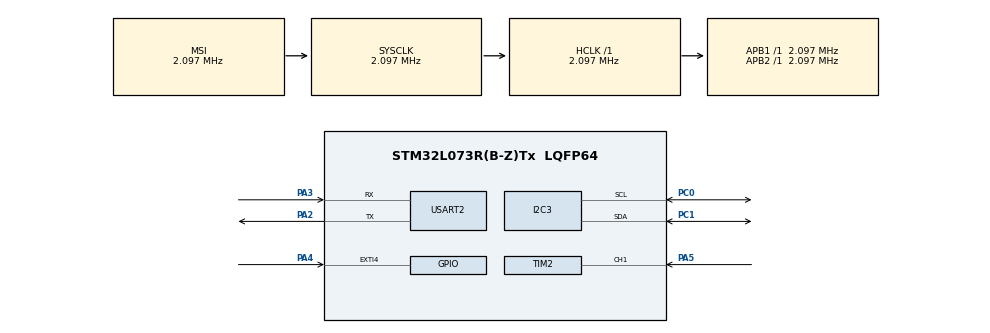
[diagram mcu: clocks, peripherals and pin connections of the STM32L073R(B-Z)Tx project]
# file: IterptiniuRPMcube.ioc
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Mcu.Family=STM32L0
Mcu.Name=STM32L073R(B-Z)Tx
Mcu.Package=LQFP64
NVIC.EXTI4_15_IRQn=true\:0\:0\:false\:false\:true\:true\:true\:true
PA2.Mode=Asynchronous
PA2.Signal=USART2_TX
PA3.Mode=Asynchronous
PA3.Signal=USART2_RX
PA4.Signal=GPXTI4
PA5.Signal=S_TIM2_CH1
PC0.Mode=I2C
PC0.Signal=I2C3_SCL
PC1.Mode=I2C
PC1.Signal=I2C3_SDA
PH0-OSC_IN.Mode=HSE-External-Oscillator
PH0-OSC_IN.Signal=RCC_OSC_IN
PH1-OSC_OUT.Mode=HSE-External-Oscillator
PH1-OSC_OUT.Signal=RCC_OSC_OUT
ProjectManager.HeapSize=0x200
ProjectManager.StackSize=0x400
ProjectManager.TargetToolchain=MDK-ARM V5.32
RCC.AHBFreq_Value=2097000
RCC.APB1Freq_Value=2097000
RCC.APB1TimFreq_Value=2097000
RCC.APB2Freq_Value=2097000
RCC.APB2TimFreq_Value=2097000
RCC.HSE_VALUE=8000000
RCC.HSI16_VALUE=16000000
RCC.HSI48_VALUE=48000000
RCC.HSI_VALUE=16000000
RCC.LSE_VALUE=32768
RCC.MSI_VALUE=2097000
RCC.SYSCLKFreq_VALUE=2097000
RCC.VCOOutputFreq_Value=48000000
SH.S_TIM2_CH1.0=TIM2_CH1,Input_Capture1_from_TI1
TIM2.Channel-Input_Capture1_from_TI1=TIM_CHANNEL_1
USART2.VirtualMode-Asynchronous=VM_ASYNC
VP_TIM2_VS_ClockSourceINT.Mode=Internal
board=custom

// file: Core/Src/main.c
/* USER CODE BEGIN Header */
/**
  ******************************************************************************
  * @file           : main.c
  * @brief          : Main program body
  ******************************************************************************
  * @attention
  *
  * Copyright (c) 2024 STMicroelectronics.
  * All rights reserved.
  *
  * This software is licensed under terms that can be found in the LICENSE file
  * in the root directory of this software component.
  * If no LICENSE file comes with this software, it is provided AS-IS.
  *
  ******************************************************************************
  */
/* USER CODE END Header */
#include "main.h"

/* USER CODE BEGIN Includes */
#include "stdio.h"
#include "mano.h"
#include "ssd1306.h"
#include "fonts.h"

/* USER CODE END Includes */

I2C_HandleTypeDef hi2c3;

TIM_HandleTypeDef htim2;

UART_HandleTypeDef huart2;

void SystemClock_Config(void);
static void MX_GPIO_Init(void);
static void MX_I2C3_Init(void);
static void MX_TIM2_Init(void);
static void MX_USART2_UART_Init(void);

/* USER CODE BEGIN 0 */
uint8_t TxBuffer[30];
int cnt=0;
volatile uint32_t lastTimestamp = 0;
volatile uint32_t currentTimestamp = 0;
volatile uint32_t timeDifference = 0;
volatile float rpm = 0.0f;
const float radius_m = 0.02f;

void DisplayInfo()
{
	#ifndef DISABLE_DISPLAY
	static char string_display[30];

	ssd1306_SetCursor(0, 0);
	ssd1306_SetCursor(0, 0);
	sprintf(string_display,"RPM=%.3f    ",rpm);
	ssd1306_WriteString(string_display,Font_11x18, White);
	ssd1306_UpdateScreen(&hi2c3);
	#endif

}

void Uart()
{
	sprintf((char*) TxBuffer, "RPM=%.3f    \n",rpm);
	HAL_UART_Transmit(&huart2, TxBuffer, sizeof(TxBuffer), 100);
}
/* USER CODE END 0 */

int main(void)
{

  /* MCU Configuration--------------------------------------------------------*/

  /* Reset of all peripherals, Initializes the Flash interface and the Systick. */
  HAL_Init();

  /* Configure the system clock */
  SystemClock_Config();

  /* Initialize all configured peripherals */
  MX_GPIO_Init();
  MX_I2C3_Init();
  MX_TIM2_Init();
  MX_USART2_UART_Init();
  /* USER CODE BEGIN 2 */

	#ifndef DISABLE_DISPLAY
  ssd1306_Init(&hi2c3);
	ssd1306_SetCursor(0,0);
  ssd1306_WriteString("Starting ...",Font_11x18, White);
  ssd1306_SetCursor(0, 12);
  ssd1306_UpdateScreen(&hi2c3);
	#endif

	cnt=0;

  /* USER CODE END 2 */

  /* Infinite loop */
  while (1)
  {

    /* USER CODE BEGIN 3 */
		HAL_Delay(500);
		DisplayInfo();
		Uart();
  }
  /* USER CODE END 3 */
}

void SystemClock_Config(void)
{
  RCC_OscInitTypeDef RCC_OscInitStruct = {0};
  RCC_ClkInitTypeDef RCC_ClkInitStruct = {0};
  RCC_PeriphCLKInitTypeDef PeriphClkInit = {0};

  /** Configure the main internal regulator output voltage
  */
  __HAL_PWR_VOLTAGESCALING_CONFIG(PWR_REGULATOR_VOLTAGE_SCALE1);

  /** Initializes the RCC Oscillators according to the specified parameters
  * in the RCC_OscInitTypeDef structure.
  */
  RCC_OscInitStruct.OscillatorType = RCC_OSCILLATORTYPE_MSI;
  RCC_OscInitStruct.MSIState = RCC_MSI_ON;
  RCC_OscInitStruct.MSICalibrationValue = 0;
  RCC_OscInitStruct.MSIClockRange = RCC_MSIRANGE_5;
  RCC_OscInitStruct.PLL.PLLState = RCC_PLL_NONE;
  if (HAL_RCC_OscConfig(&RCC_OscInitStruct) != HAL_OK)
  {
    Error_Handler();
  }

  /** Initializes the CPU, AHB and APB buses clocks
  */
  RCC_ClkInitStruct.ClockType = RCC_CLOCKTYPE_HCLK|RCC_CLOCKTYPE_SYSCLK
                              |RCC_CLOCKTYPE_PCLK1|RCC_CLOCKTYPE_PCLK2;
  RCC_ClkInitStruct.SYSCLKSource = RCC_SYSCLKSOURCE_MSI;
  RCC_ClkInitStruct.AHBCLKDivider = RCC_SYSCLK_DIV1;
  RCC_ClkInitStruct.APB1CLKDivider = RCC_HCLK_DIV1;
  RCC_ClkInitStruct.APB2CLKDivider = RCC_HCLK_DIV1;

  if (HAL_RCC_ClockConfig(&RCC_ClkInitStruct, FLASH_LATENCY_0) != HAL_OK)
  {
    Error_Handler();
  }
  PeriphClkInit.PeriphClockSelection = RCC_PERIPHCLK_USART2|RCC_PERIPHCLK_I2C3;
  PeriphClkInit.Usart2ClockSelection = RCC_USART2CLKSOURCE_PCLK1;
  PeriphClkInit.I2c3ClockSelection = RCC_I2C3CLKSOURCE_PCLK1;
  if (HAL_RCCEx_PeriphCLKConfig(&PeriphClkInit) != HAL_OK)
  {
    Error_Handler();
  }
}

static void MX_I2C3_Init(void)
{

  hi2c3.Instance = I2C3;
  hi2c3.Init.Timing = 0x00000708;
  hi2c3.Init.OwnAddress1 = 0;
  hi2c3.Init.AddressingMode = I2C_ADDRESSINGMODE_7BIT;
  hi2c3.Init.DualAddressMode = I2C_DUALADDRESS_DISABLE;
  hi2c3.Init.OwnAddress2 = 0;
  hi2c3.Init.OwnAddress2Masks = I2C_OA2_NOMASK;
  hi2c3.Init.GeneralCallMode = I2C_GENERALCALL_DISABLE;
  hi2c3.Init.NoStretchMode = I2C_NOSTRETCH_DISABLE;
  if (HAL_I2C_Init(&hi2c3) != HAL_OK)
  {
    Error_Handler();
  }

  /** Configure Analogue filter
  */
  if (HAL_I2CEx_ConfigAnalogFilter(&hi2c3, I2C_ANALOGFILTER_ENABLE) != HAL_OK)
  {
    Error_Handler();
  }

  /** Configure Digital filter
  */
  if (HAL_I2CEx_ConfigDigitalFilter(&hi2c3, 0) != HAL_OK)
  {
    Error_Handler();
  }

}

static void MX_TIM2_Init(void)
{

  TIM_ClockConfigTypeDef sClockSourceConfig = {0};
  TIM_MasterConfigTypeDef sMasterConfig = {0};
  TIM_IC_InitTypeDef sConfigIC = {0};

  htim2.Instance = TIM2;
  htim2.Init.Prescaler = 0;
  htim2.Init.CounterMode = TIM_COUNTERMODE_UP;
  htim2.Init.Period = 65535;
  htim2.Init.ClockDivision = TIM_CLOCKDIVISION_DIV1;
  htim2.Init.AutoReloadPreload = TIM_AUTORELOAD_PRELOAD_DISABLE;
  if (HAL_TIM_Base_Init(&htim2) != HAL_OK)
  {
    Error_Handler();
  }
  sClockSourceConfig.ClockSource = TIM_CLOCKSOURCE_INTERNAL;
  if (HAL_TIM_ConfigClockSource(&htim2, &sClockSourceConfig) != HAL_OK)
  {
    Error_Handler();
  }
  if (HAL_TIM_IC_Init(&htim2) != HAL_OK)
  {
    Error_Handler();
  }
  sMasterConfig.MasterOutputTrigger = TIM_TRGO_RESET;
  sMasterConfig.MasterSlaveMode = TIM_MASTERSLAVEMODE_DISABLE;
  if (HAL_TIMEx_MasterConfigSynchronization(&htim2, &sMasterConfig) != HAL_OK)
  {
    Error_Handler();
  }
  sConfigIC.ICPolarity = TIM_INPUTCHANNELPOLARITY_RISING;
  sConfigIC.ICSelection = TIM_ICSELECTION_DIRECTTI;
  sConfigIC.ICPrescaler = TIM_ICPSC_DIV1;
  sConfigIC.ICFilter = 0;
  if (HAL_TIM_IC_ConfigChannel(&htim2, &sConfigIC, TIM_CHANNEL_1) != HAL_OK)
  {
    Error_Handler();
  }

}

static void MX_USART2_UART_Init(void)
{

  huart2.Instance = USART2;
  huart2.Init.BaudRate = 115200;
  huart2.Init.WordLength = UART_WORDLENGTH_8B;
  huart2.Init.StopBits = UART_STOPBITS_1;
  huart2.Init.Parity = UART_PARITY_NONE;
  huart2.Init.Mode = UART_MODE_TX_RX;
  huart2.Init.HwFlowCtl = UART_HWCONTROL_NONE;
  huart2.Init.OverSampling = UART_OVERSAMPLING_16;
  huart2.Init.OneBitSampling = UART_ONE_BIT_SAMPLE_DISABLE;
  huart2.AdvancedInit.AdvFeatureInit = UART_ADVFEATURE_NO_INIT;
  if (HAL_UART_Init(&huart2) != HAL_OK)
  {
    Error_Handler();
  }

}

static void MX_GPIO_Init(void)
{
  GPIO_InitTypeDef GPIO_InitStruct = {0};

  /* GPIO Ports Clock Enable */
  __HAL_RCC_GPIOH_CLK_ENABLE();
  __HAL_RCC_GPIOC_CLK_ENABLE();
  __HAL_RCC_GPIOA_CLK_ENABLE();

  /*Configure GPIO pin : PA4 */
  GPIO_InitStruct.Pin = GPIO_PIN_4;
  GPIO_InitStruct.Mode = GPIO_MODE_IT_RISING;
  GPIO_InitStruct.Pull = GPIO_NOPULL;
  HAL_GPIO_Init(GPIOA, &GPIO_InitStruct);

  /* EXTI interrupt init*/
  HAL_NVIC_SetPriority(EXTI4_15_IRQn, 0, 0);
  HAL_NVIC_EnableIRQ(EXTI4_15_IRQn);

}

/* USER CODE BEGIN 4 */
void HAL_GPIO_EXTI_Callback(uint16_t GPIO_Pin)
{
	if(GPIO_Pin == GPIO_PIN_4){
		currentTimestamp = HAL_GetTick();
		if(lastTimestamp != 0){
			timeDifference = currentTimestamp - lastTimestamp;
			if(timeDifference != 0){
				rpm = 6000.0f	/ (float)timeDifference;
			}
		}
		lastTimestamp = currentTimestamp;
	}
}
/* USER CODE END 4 */

void Error_Handler(void)
{
  __disable_irq();
  while (1)
  {
  }
}
